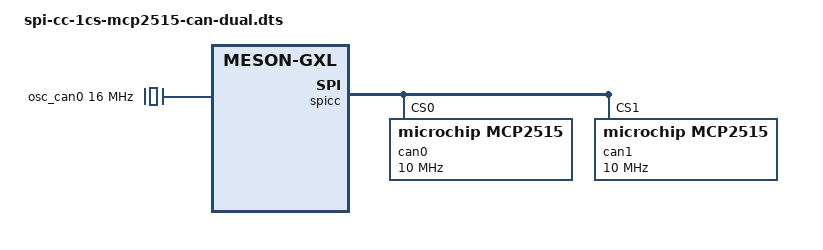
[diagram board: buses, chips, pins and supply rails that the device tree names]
// SPDX-License-Identifier: (GPL-2.0-or-later OR MIT)
/*
 * Copyright (c) Libre Computer
 * Author: Jeff Karney <jeff.karney@gmail.com>
 * Requires "spicc-cs1" DTS to be loaded first
 * Tested with the "Seengreat Dual-CH CAN HAT" Rev 3.1 [https://seengreat.com/dualchcanhat]
 * Interrupts may not be correct for other CAN hats. Adjust accordingly.
 */
/*
 * Summary: spi-cc-1cs-mcp2515-can-dual
 *
 * Requires: spi-cc-2cs
 */
/dts-v1/;
/plugin/;

#include <dt-bindings/gpio/gpio.h>
#include <dt-bindings/gpio/meson-gxl-gpio.h>
#include <dt-bindings/interrupt-controller/irq.h>
#include <dt-bindings/interrupt-controller/amlogic,meson-gxl-gpio-intc.h>

/ {
	compatible = "libre-computer,aml-s905x-cc",
		"libretech,aml-s905x-cc",
		"libre-computer,aml-s905x-cc-v2",
		"libretech,aml-s905x-cc-v2",
		"libre-computer,aml-s905x-cc-v3",
		"libretech,aml-s905x-cc-v3",
		"amlogic,s905x",
		"amlogic,meson-gxl";
	/* clock for controller */
	fragment@0 {
		target-path = "/";
		__overlay__ {
			/* external oscillator of mcp2515 on SPI0.0 */
			osc_can0: osc_can0 {
				compatible = "fixed-clock";
				#clock-cells = <0>;
				clock-frequency = <16000000>;
			};
		};
	};

	fragment@1 {
		target = <&spicc>;
		__overlay__ {
			#address-cells = <1>;
			#size-cells = <0>;
			can0: mcp2515@0 {
				compatible = "microchip,mcp2515";
				reg = <0>;
				clocks = <&osc_can0>;
				interrupt-parent = <&gpio_intc>;
				interrupts = <IRQID_GPIOX_0 IRQ_TYPE_EDGE_FALLING>;
				spi-max-frequency = <10000000>;
			};

			can1: mcp2515@1 {
				compatible = "microchip,mcp2515";
				reg = <1>;
				clocks = <&osc_can0>;
				interrupt-parent = <&gpio_intc>;
				interrupts = <IRQID_GPIOX_14 IRQ_TYPE_EDGE_FALLING>;
				spi-max-frequency = <10000000>;
			};

		};
	};
};

